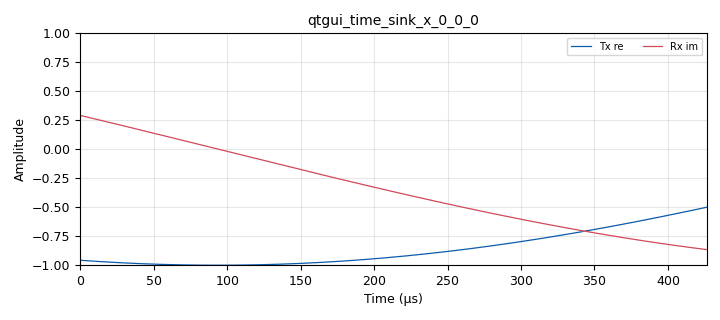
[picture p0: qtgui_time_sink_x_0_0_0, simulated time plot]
options:
  parameters:
    author: duong
    generate_options: qt_gui
    id: Doppler_Correction
    output_language: python
    title: PlutoRADAR
  states: {}

blocks:
- name: lo_fre
  id: variable
  parameters:
    value: '3500000000'
  states: {}
- name: rx_gain
  id: variable_qtgui_range
  parameters:
    start: '0'
    step: '1'
    stop: '70'
    value: '64'
  states: {}
- name: samp_rate
  id: variable
  parameters:
    value: '2400000'
  states: {}
- name: tone_freq
  id: variable_qtgui_range
  parameters:
    start: '-2e3'
    step: '1'
    stop: 2e3
    value: '500'
  states: {}
- name: tx_attenuation
  id: variable_qtgui_range
  parameters:
    start: '0'
    step: '1'
    stop: '100'
    value: '10'
  states: {}
- name: analog_sig_source_x_0
  id: analog_sig_source_x
  parameters:
    amp: '1'
    freq: tone_freq
    offset: '0'
    phase: '0'
    samp_rate: samp_rate
    type: complex
    waveform: analog.GR_COS_WAVE
  states: {}
- name: iio_pluto_sink_1
  id: iio_pluto_sink
  parameters:
    attenuation1: tx_attenuation
    bandwidth: '20000000'
    buffer_size: '32768'
    cyclic: 'False'
    filter_source: '''Auto'''
    frequency: lo_fre
    samplerate: samp_rate
    type: fc32
    uri: usb:1.2.5
  states: {}
- name: iio_pluto_source_0
  id: iio_pluto_source
  parameters:
    bandwidth: '20000000'
    bbdc: 'True'
    buffer_size: '32768'
    filter_source: '''Auto'''
    frequency: lo_fre
    gain1: '''manual'''
    manual_gain1: rx_gain
    quadrature: 'True'
    rfdc: 'True'
    samplerate: samp_rate
    type: fc32
    uri: usb:1.2.5
  states: {}
- name: qtgui_freq_sink_x_0
  id: qtgui_freq_sink_x
  parameters:
    bw: samp_rate
    fc: '0'
    fftsize: '8192'
    label1: Rx
    type: complex
  states: {}
- name: qtgui_time_sink_x_0_0_0
  id: qtgui_time_sink_x
  parameters:
    label1: Tx re
    label2: Rx im
    size: '1024'
    srate: samp_rate
    type: complex
  states: {}
- name: qtgui_time_sink_x_0_0_0_0
  id: qtgui_time_sink_x
  parameters:
    label1: Rx re
    label2: Rx im
    size: 1024*8
    srate: samp_rate
    type: complex
  states: {}

connections:
- [analog_sig_source_x_0, '0', iio_pluto_sink_1, '0']
- [analog_sig_source_x_0, '0', qtgui_time_sink_x_0_0_0, '0']
- [iio_pluto_source_0, '0', qtgui_freq_sink_x_0, '0']
- [iio_pluto_source_0, '0', qtgui_time_sink_x_0_0_0_0, '0']

metadata:
  file_format: 1
  grc_version: 3.10.9.2
